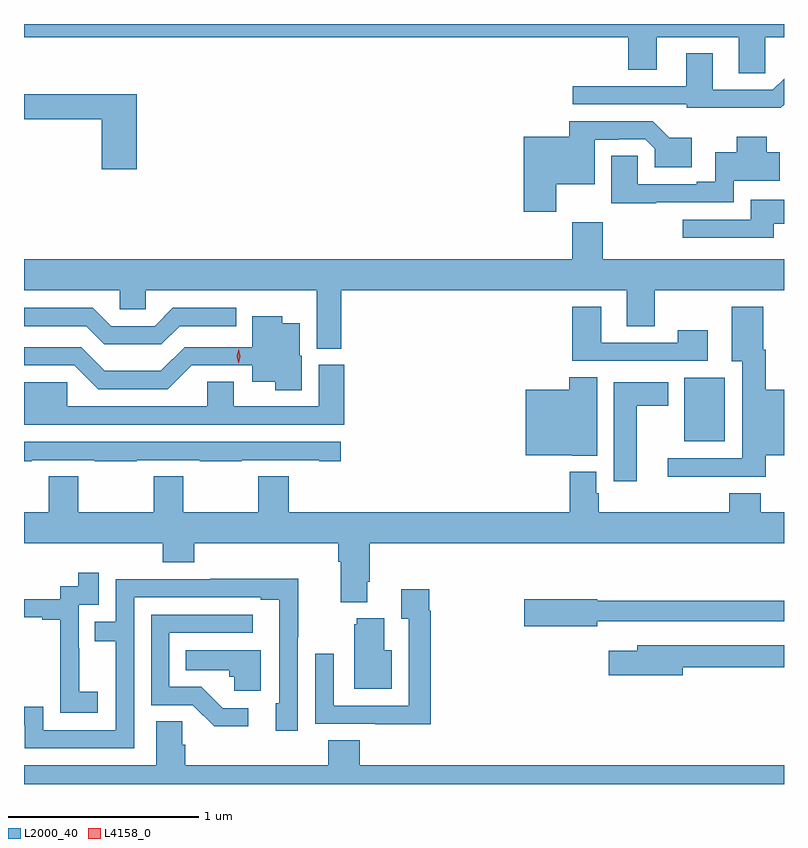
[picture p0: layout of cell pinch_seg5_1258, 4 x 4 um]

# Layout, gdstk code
import gdstk
lib = gdstk.Library(unit=1e-6, precision=1e-09)
def R(c, l, rs):  # rectangles x0, y0, x1, y1
    for r in rs: c.add(gdstk.rectangle(r[:2], r[2:], *l))
def P(c, l, *ps):  # polygons
    for p in ps: c.add(gdstk.Polygon(p, *l))
L2000_40 = (2000, 40)
L4158_0 = (4158, 0)

pinch_seg5_1258 = lib.new_cell('pinch_seg5_1258')
R(pinch_seg5_1258, L2000_40, [(498.956,837.317,499.168,837.652)])
P(pinch_seg5_1258, L2000_40, [(495.48,839.444),(498.659,839.444),(498.659,839.272),(498.811,839.272),(498.811,839.444),(499.241,839.444),(499.241,839.254),(499.38,839.254),(499.38,839.444),(499.48,839.444),(499.48,839.514),(495.48,839.514)],
  [(499.48,839.089),(499.48,839.227),(499.422,839.169),(499.105,839.169),(499.105,839.359),(498.965,839.359),(498.965,839.187),(498.369,839.187),(498.369,839.091),(498.969,839.091),(498.969,839.072),(499.463,839.072)],
  [(496.073,839.143),(495.48,839.143),(495.48,839.014),(495.89,839.014),(495.89,838.749),(496.073,838.749)],
  [(498.28,838.67),(498.484,838.67),(498.484,838.905),(498.608,838.905),(498.608,838.908),(498.75,838.908),(498.801,838.857),(498.801,838.76),(498.994,838.76),(498.994,838.915),(498.876,838.915),(498.79,839.001),(498.35,839.001),(498.35,838.921),(498.11,838.921),(498.11,838.527),(498.28,838.527)],
  [(498.808,838.575),(499.215,838.575),(499.215,838.688),(499.457,838.688),(499.457,838.84),(499.39,838.84),(499.39,838.921),(499.232,838.921),(499.232,838.84),(499.119,838.84),(499.119,838.684),(499.022,838.684),(499.022,838.671),(498.711,838.671),(498.711,838.82),(498.572,838.82),(498.572,838.57),(498.808,838.57)],
  [(499.426,838.463),(499.48,838.463),(499.48,838.588),(499.304,838.588),(499.304,838.485),(498.948,838.485),(498.948,838.389),(499.426,838.389)],
  [(497.15,838.112),(498.653,838.112),(498.653,837.922),(498.801,837.922),(498.801,838.112),(499.48,838.112),(499.48,838.276),(498.525,838.276),(498.525,838.471),(498.365,838.471),(498.365,838.276),(495.48,838.276),(495.48,838.112),(495.984,838.112),(495.984,838.014),(496.122,838.014),(496.122,838.112),(497.021,838.112),(497.021,837.805),(497.15,837.805)],
  [(499.078,837.901),(498.922,837.901),(498.922,837.837),(498.517,837.837),(498.517,838.027),(498.365,838.027),(498.365,837.741),(499.078,837.741)],
  [(499.385,837.245),(499.48,837.245),(499.48,837.589),(499.385,837.589),(499.385,837.8),(499.372,837.8),(499.372,838.027),(499.205,838.027),(499.205,837.74),(499.259,837.74),(499.259,837.228),(498.867,837.228),(498.867,837.131),(499.385,837.131)],
  [(496.299,837.924),(496.597,837.924),(496.597,838.02),(496.263,838.02),(496.167,837.924),(495.939,837.924),(495.843,838.02),(495.48,838.02),(495.48,837.924),(495.807,837.924),(495.903,837.828),(496.203,837.828)],
  [(496.942,837.768),(496.93,837.768),(496.93,837.94),(496.84,837.94),(496.84,837.976),(496.682,837.976),(496.682,837.813),(496.326,837.813),(496.201,837.688),(495.905,837.688),(495.78,837.813),(495.48,837.813),(495.48,837.717),(495.744,837.717),(495.87,837.591),(496.236,837.591),(496.362,837.717),(496.682,837.717),(496.682,837.632),(496.802,837.632),(496.802,837.586),(496.942,837.586)],
  [(495.605,837.405),(497.165,837.405),(497.165,837.72),(497.03,837.72),(497.03,837.501),(496.585,837.501),(496.585,837.632),(496.445,837.632),(496.445,837.501),(495.708,837.501),(495.708,837.628),(495.48,837.628),(495.48,837.404),(495.605,837.404)],
  [(498.496,837.656),(498.35,837.656),(498.35,837.589),(498.122,837.589),(498.122,837.245),(498.366,837.245),(498.366,837.242),(498.496,837.242)],
  [(498.706,837.506),(498.871,837.506),(498.871,837.628),(498.584,837.628),(498.584,837.108),(498.706,837.108)],
  [(495.521,837.219),(495.853,837.219),(495.853,837.214),(496.073,837.214),(496.073,837.219),(496.405,837.219),(496.405,837.214),(496.625,837.214),(496.625,837.219),(497.033,837.219),(497.033,837.214),(497.146,837.214),(497.146,837.315),(495.48,837.315),(495.48,837.214),(495.521,837.214)],
  [(497.287,836.578),(497.3,836.578),(497.3,836.78),(499.48,836.78),(499.48,836.944),(499.358,836.944),(499.358,837.043),(499.193,837.043),(499.193,836.944),(498.506,836.944),(498.506,837.045),(498.493,837.045),(498.493,837.157),(498.353,837.157),(498.353,836.944),(496.874,836.944),(496.874,837.134),(496.714,837.134),(496.714,836.944),(496.317,836.944),(496.317,837.134),(496.162,837.134),(496.162,836.944),(495.765,836.944),(495.765,837.134),(495.61,837.134),(495.61,836.944),(495.48,836.944),(495.48,836.78),(496.211,836.78),(496.211,836.681),(496.376,836.681),(496.376,836.78),(497.135,836.78),(497.135,836.684),(497.147,836.684),(497.147,836.471),(497.287,836.471)],
  [(495.868,835.999),(495.77,835.999),(495.77,836.228),(495.768,836.228),(495.768,836.457),(495.873,836.457),(495.873,836.626),(495.765,836.626),(495.765,836.556),(495.672,836.556),(495.672,836.487),(495.48,836.487),(495.48,836.391),(495.575,836.391),(495.575,836.379),(495.671,836.379),(495.671,836.095),(495.67,836.095),(495.67,835.889),(495.868,835.889)],
  [(496.059,836.496),(496.727,836.496),(496.727,836.484),(496.824,836.484),(496.824,835.938),(496.805,835.938),(496.805,835.794),(496.92,835.794),(496.92,836.287),(496.923,836.287),(496.923,836.594),(496.459,836.594),(496.459,836.592),(495.963,836.592),(495.963,836.367),(495.853,836.367),(495.853,836.266),(495.963,836.266),(495.963,835.797),(495.582,835.797),(495.582,835.92),(495.48,835.92),(495.48,835.824),(495.485,835.824),(495.485,835.701),(496.059,835.701)],
  [(497.621,836.426),(497.614,836.426),(497.614,836.539),(497.465,836.539),(497.465,836.383),(497.505,836.383),(497.505,835.926),(497.109,835.926),(497.109,836.2),(497.013,836.2),(497.013,835.83),(497.329,835.83),(497.329,835.829),(497.621,835.829)],
  [(498.498,836.37),(499.48,836.37),(499.48,836.479),(498.498,836.479),(498.498,836.487),(498.114,836.487),(498.114,836.345),(498.498,836.345)],
  [(496.66,835.914),(496.525,835.914),(496.414,836.025),(496.245,836.025),(496.245,836.31),(496.684,836.31),(496.684,836.406),(496.149,836.406),(496.149,835.929),(496.368,835.929),(496.481,835.817),(496.66,835.817)],
  [(497.416,836.218),(497.377,836.218),(497.377,836.386),(497.231,836.386),(497.231,836.355),(497.219,836.355),(497.219,836.015),(497.416,836.015)],
  [(498.946,836.128),(499.48,836.128),(499.48,836.244),(498.707,836.244),(498.707,836.215),(498.558,836.215),(498.558,836.086),(498.946,836.086)],
  [(496.726,836.218),(496.33,836.218),(496.33,836.114),(496.561,836.114),(496.561,836.079),(496.587,836.079),(496.587,836.006),(496.726,836.006)],
  [(499.48,835.612),(497.246,835.612),(497.246,835.745),(497.081,835.745),(497.081,835.612),(496.328,835.612),(496.328,835.721),(496.314,835.721),(496.314,835.844),(496.175,835.844),(496.175,835.612),(495.48,835.612),(495.48,835.514),(499.48,835.514)])
P(pinch_seg5_1258, L4158_0, [(496.609,837.729),(496.609,837.729),(496.599,837.765),(496.609,837.801),(496.609,837.801),(496.61,837.801),(496.619,837.765),(496.609,837.729)])

lib.write_gds('pinch_seg5_1258.gds')
